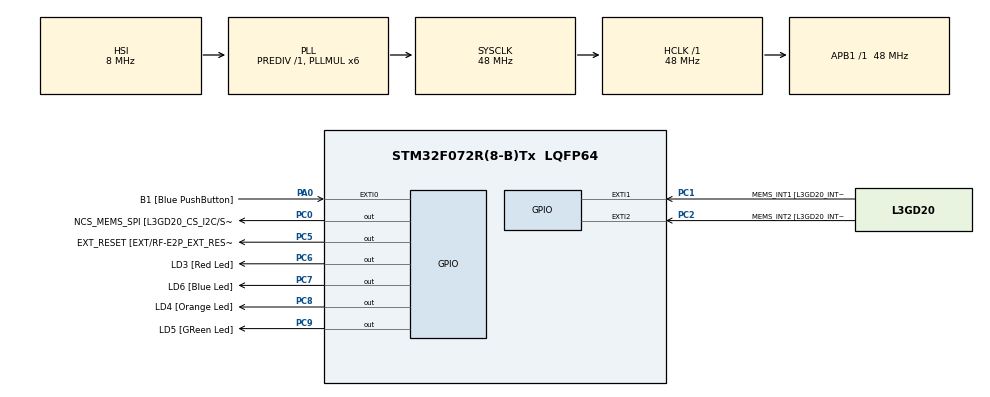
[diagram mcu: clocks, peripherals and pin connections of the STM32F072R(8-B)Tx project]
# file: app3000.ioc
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Mcu.Family=STM32F0
Mcu.Name=STM32F072R(8-B)Tx
Mcu.Package=LQFP64
PA0.GPIO_Label=B1 [Blue PushButton]
PA0.GPIO_ModeDefaultEXTI=GPIO_MODE_EVT_RISING
PA0.Signal=GPXTI0
PA11.GPIO_Label=USBF4_DM
PA11.Signal=USB_DM
PA12.GPIO_Label=USBF4_DP
PA12.Signal=USB_DP
PA13.GPIO_Label=SWDIO
PA13.Signal=SYS_SWDIO
PA14.GPIO_Label=SWCLK
PA14.Signal=SYS_SWCLK
PA2.Signal=TSC_G1_IO3
PA3.Signal=TSC_G1_IO4
PA6.Signal=TSC_G2_IO3
PA7.Signal=TSC_G2_IO4
PB0.Signal=TSC_G3_IO2
PB1.Signal=TSC_G3_IO3
PB10.GPIO_Label=I2C2_SCL[EXT/RF-E2P_SCL]
PB10.Signal=I2C2_SCL
PB11.GPIO_Label=I2C2_SDA[EXT/RF-E2P_SDA]
PB11.Signal=I2C2_SDA
PB13.GPIO_Label=SPI2_SCK [L3GD20_SCL/SPC]
PB13.Signal=SPI2_SCK
PB14.GPIO_Label=SPI2_MISO [L3GD20_SDO]
PB14.Signal=SPI2_MISO
PB15.GPIO_Label=SPI2_MOSI [L3GD20_SDA/SDI]
PB15.Signal=SPI2_MOSI
PC0.GPIO_Label=NCS_MEMS_SPI [L3GD20_CS_I2C/SPI]
PC0.Signal=GPIO_Output
PC1.GPIO_Label=MEMS_INT1 [L3GD20_INT1]
PC1.GPIO_ModeDefaultEXTI=GPIO_MODE_EVT_RISING
PC1.Signal=GPXTI1
PC2.GPIO_Label=MEMS_INT2 [L3GD20_INT2]
PC2.GPIO_ModeDefaultEXTI=GPIO_MODE_EVT_RISING
PC2.Signal=GPXTI2
PC5.GPIO_Label=EXT_RESET [EXT/RF-E2P_EXT_RESET]
PC5.Signal=GPIO_Output
PC6.GPIO_Label=LD3 [Red Led]
PC6.Signal=GPIO_Output
PC7.GPIO_Label=LD6 [Blue Led]
PC7.Signal=GPIO_Output
PC8.GPIO_Label=LD4 [Orange Led]
PC8.Signal=GPIO_Output
PC9.GPIO_Label=LD5 [GReen Led]
PC9.Signal=GPIO_Output
ProjectManager.HeapSize=0x200
ProjectManager.StackSize=0x400
ProjectManager.TargetToolchain=MDK-ARM V5
RCC.AHBFreq_Value=48000000
RCC.APB1Freq_Value=48000000
RCC.APB1TimFreq_Value=48000000
RCC.HCLKFreq_Value=48000000
RCC.PLLMUL=RCC_PLL_MUL6
RCC.SYSCLKFreq_VALUE=48000000
RCC.SYSCLKSource=RCC_SYSCLKSOURCE_PLLCLK
board=STM32F072B-DISCO

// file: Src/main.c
/**
  ******************************************************************************
  * File Name          : main.c
  * Description        : Main program body
  ******************************************************************************
  *
  * COPYRIGHT(c) 2016 STMicroelectronics
  *
  * Redistribution and use in source and binary forms, with or without modification,
  * are permitted provided that the following conditions are met:
  *   1. Redistributions of source code must retain the above copyright notice,
  *      this list of conditions and the following disclaimer.
  *   2. Redistributions in binary form must reproduce the above copyright notice,
  *      this list of conditions and the following disclaimer in the documentation
  *      and/or other materials provided with the distribution.
  *   3. Neither the name of STMicroelectronics nor the names of its contributors
  *      may be used to endorse or promote products derived from this software
  *      without specific prior written permission.
  *
  * THIS SOFTWARE IS PROVIDED BY THE COPYRIGHT HOLDERS AND CONTRIBUTORS "AS IS"
  * AND ANY EXPRESS OR IMPLIED WARRANTIES, INCLUDING, BUT NOT LIMITED TO, THE
  * IMPLIED WARRANTIES OF MERCHANTABILITY AND FITNESS FOR A PARTICULAR PURPOSE ARE
  * DISCLAIMED. IN NO EVENT SHALL THE COPYRIGHT HOLDER OR CONTRIBUTORS BE LIABLE
  * FOR ANY DIRECT, INDIRECT, INCIDENTAL, SPECIAL, EXEMPLARY, OR CONSEQUENTIAL
  * DAMAGES (INCLUDING, BUT NOT LIMITED TO, PROCUREMENT OF SUBSTITUTE GOODS OR
  * SERVICES; LOSS OF USE, DATA, OR PROFITS; OR BUSINESS INTERRUPTION) HOWEVER
  * CAUSED AND ON ANY THEORY OF LIABILITY, WHETHER IN CONTRACT, STRICT LIABILITY,
  * OR TORT (INCLUDING NEGLIGENCE OR OTHERWISE) ARISING IN ANY WAY OUT OF THE USE
  * OF THIS SOFTWARE, EVEN IF ADVISED OF THE POSSIBILITY OF SUCH DAMAGE.
  *
  ******************************************************************************
  */
#include "main.h"
#include "stm32f0xx_hal.h"

/* USER CODE BEGIN PV */
/* Private variables ---------------------------------------------------------*/

/* USER CODE END PV */

void SystemClock_Config(void);
void Error_Handler(void);
static void MX_GPIO_Init(void);

/* USER CODE BEGIN PFP */
/* Private function prototypes -----------------------------------------------*/

/* USER CODE END PFP */

int main(void)
{

  /* USER CODE BEGIN 1 */
#define LOAD_ADDRESS  Image$$ER_IROM1$$Base

   volatile uint32_t *VectorTable = (volatile uint32_t *) 0x20000000;
   extern unsigned int LOAD_ADDRESS;
   if ((uint32_t)&LOAD_ADDRESS != 0x8000000 ) {
      // load vector table
      uint32_t ui32_VectorIndex;
      for ( ui32_VectorIndex = 0; ui32_VectorIndex < 48; ui32_VectorIndex++ ) {
         VectorTable[ui32_VectorIndex] = *(__IO uint32_t *) ((uint32_t) &LOAD_ADDRESS + (ui32_VectorIndex << 2));
      }
      __HAL_RCC_AHB_FORCE_RESET();
      __HAL_RCC_SYSCFG_CLK_ENABLE();
      __HAL_RCC_AHB_RELEASE_RESET();

      __HAL_SYSCFG_REMAPMEMORY_SRAM();
   }
  /* USER CODE END 1 */

  /* MCU Configuration----------------------------------------------------------*/

  /* Reset of all peripherals, Initializes the Flash interface and the Systick. */
  HAL_Init();

  /* Configure the system clock */
  SystemClock_Config();

  /* Initialize all configured peripherals */
  MX_GPIO_Init();

  /* Infinite loop */
  while (1)
  {

  /* USER CODE BEGIN 3 */
     HAL_Delay(100);
     HAL_GPIO_TogglePin(LD3_GPIO_Port, LD3_Pin);
     HAL_Delay(100);
     HAL_GPIO_TogglePin(LD5_GPIO_Port, LD5_Pin);

  }
  /* USER CODE END 3 */

}

/** System Clock Configuration
*/
void SystemClock_Config(void)
{

  RCC_OscInitTypeDef RCC_OscInitStruct;
  RCC_ClkInitTypeDef RCC_ClkInitStruct;

    /**Initializes the CPU, AHB and APB busses clocks
    */
  RCC_OscInitStruct.OscillatorType = RCC_OSCILLATORTYPE_HSI;
  RCC_OscInitStruct.HSIState = RCC_HSI_ON;
  RCC_OscInitStruct.HSICalibrationValue = 16;
  RCC_OscInitStruct.PLL.PLLState = RCC_PLL_ON;
  RCC_OscInitStruct.PLL.PLLSource = RCC_PLLSOURCE_HSI;
  RCC_OscInitStruct.PLL.PLLMUL = RCC_PLL_MUL6;
  RCC_OscInitStruct.PLL.PREDIV = RCC_PREDIV_DIV1;
  if (HAL_RCC_OscConfig(&RCC_OscInitStruct) != HAL_OK)
  {
    Error_Handler();
  }

    /**Initializes the CPU, AHB and APB busses clocks
    */
  RCC_ClkInitStruct.ClockType = RCC_CLOCKTYPE_HCLK|RCC_CLOCKTYPE_SYSCLK
                              |RCC_CLOCKTYPE_PCLK1;
  RCC_ClkInitStruct.SYSCLKSource = RCC_SYSCLKSOURCE_PLLCLK;
  RCC_ClkInitStruct.AHBCLKDivider = RCC_SYSCLK_DIV1;
  RCC_ClkInitStruct.APB1CLKDivider = RCC_HCLK_DIV1;

  if (HAL_RCC_ClockConfig(&RCC_ClkInitStruct, FLASH_LATENCY_1) != HAL_OK)
  {
    Error_Handler();
  }

    /**Configure the Systick interrupt time
    */
  HAL_SYSTICK_Config(HAL_RCC_GetHCLKFreq()/1000);

    /**Configure the Systick
    */
  HAL_SYSTICK_CLKSourceConfig(SYSTICK_CLKSOURCE_HCLK);

  /* SysTick_IRQn interrupt configuration */
  HAL_NVIC_SetPriority(SysTick_IRQn, 0, 0);
}

/** Configure pins as
        * Analog
        * Input
        * Output
        * EVENT_OUT
        * EXTI
     PA2   ------> TSC_G1_IO3
     PA3   ------> TSC_G1_IO4
     PA6   ------> TSC_G2_IO3
     PA7   ------> TSC_G2_IO4
     PB0   ------> TSC_G3_IO2
     PB1   ------> TSC_G3_IO3
     PB10   ------> I2C2_SCL
     PB11   ------> I2C2_SDA
     PB13   ------> SPI2_SCK
     PB14   ------> SPI2_MISO
     PB15   ------> SPI2_MOSI
*/
static void MX_GPIO_Init(void)
{

  GPIO_InitTypeDef GPIO_InitStruct;

  /* GPIO Ports Clock Enable */
  __HAL_RCC_GPIOC_CLK_ENABLE();
  __HAL_RCC_GPIOA_CLK_ENABLE();
  __HAL_RCC_GPIOB_CLK_ENABLE();

  /*Configure GPIO pin Output Level */
  HAL_GPIO_WritePin(GPIOC, NCS_MEMS_SPI_Pin|EXT_RESET_Pin|LD3_Pin|LD6_Pin
                          |LD4_Pin|LD5_Pin, GPIO_PIN_RESET);

  /*Configure GPIO pins : NCS_MEMS_SPI_Pin EXT_RESET_Pin LD3_Pin LD6_Pin
                           LD4_Pin LD5_Pin */
  GPIO_InitStruct.Pin = NCS_MEMS_SPI_Pin|EXT_RESET_Pin|LD3_Pin|LD6_Pin
                          |LD4_Pin|LD5_Pin;
  GPIO_InitStruct.Mode = GPIO_MODE_OUTPUT_PP;
  GPIO_InitStruct.Pull = GPIO_NOPULL;
  GPIO_InitStruct.Speed = GPIO_SPEED_FREQ_LOW;
  HAL_GPIO_Init(GPIOC, &GPIO_InitStruct);

  /*Configure GPIO pins : MEMS_INT1_Pin MEMS_INT2_Pin */
  GPIO_InitStruct.Pin = MEMS_INT1_Pin|MEMS_INT2_Pin;
  GPIO_InitStruct.Mode = GPIO_MODE_EVT_RISING;
  GPIO_InitStruct.Pull = GPIO_NOPULL;
  HAL_GPIO_Init(GPIOC, &GPIO_InitStruct);

  /*Configure GPIO pin : B1_Pin */
  GPIO_InitStruct.Pin = B1_Pin;
  GPIO_InitStruct.Mode = GPIO_MODE_EVT_RISING;
  GPIO_InitStruct.Pull = GPIO_NOPULL;
  HAL_GPIO_Init(B1_GPIO_Port, &GPIO_InitStruct);

  /*Configure GPIO pins : PA2 PA3 PA6 PA7 */
  GPIO_InitStruct.Pin = GPIO_PIN_2|GPIO_PIN_3|GPIO_PIN_6|GPIO_PIN_7;
  GPIO_InitStruct.Mode = GPIO_MODE_AF_PP;
  GPIO_InitStruct.Pull = GPIO_NOPULL;
  GPIO_InitStruct.Speed = GPIO_SPEED_FREQ_LOW;
  GPIO_InitStruct.Alternate = GPIO_AF3_TSC;
  HAL_GPIO_Init(GPIOA, &GPIO_InitStruct);

  /*Configure GPIO pins : PB0 PB1 */
  GPIO_InitStruct.Pin = GPIO_PIN_0|GPIO_PIN_1;
  GPIO_InitStruct.Mode = GPIO_MODE_AF_PP;
  GPIO_InitStruct.Pull = GPIO_NOPULL;
  GPIO_InitStruct.Speed = GPIO_SPEED_FREQ_LOW;
  GPIO_InitStruct.Alternate = GPIO_AF3_TSC;
  HAL_GPIO_Init(GPIOB, &GPIO_InitStruct);

  /*Configure GPIO pins : PB10 PB11 */
  GPIO_InitStruct.Pin = GPIO_PIN_10|GPIO_PIN_11;
  GPIO_InitStruct.Mode = GPIO_MODE_AF_OD;
  GPIO_InitStruct.Pull = GPIO_PULLUP;
  GPIO_InitStruct.Speed = GPIO_SPEED_FREQ_HIGH;
  GPIO_InitStruct.Alternate = GPIO_AF1_I2C2;
  HAL_GPIO_Init(GPIOB, &GPIO_InitStruct);

  /*Configure GPIO pins : PB13 PB14 PB15 */
  GPIO_InitStruct.Pin = GPIO_PIN_13|GPIO_PIN_14|GPIO_PIN_15;
  GPIO_InitStruct.Mode = GPIO_MODE_AF_PP;
  GPIO_InitStruct.Pull = GPIO_NOPULL;
  GPIO_InitStruct.Speed = GPIO_SPEED_FREQ_HIGH;
  GPIO_InitStruct.Alternate = GPIO_AF0_SPI2;
  HAL_GPIO_Init(GPIOB, &GPIO_InitStruct);

}

void Error_Handler(void)
{
  while(1)
  {
  }
}

/************************ (C) COPYRIGHT STMicroelectronics *****END OF FILE****/
